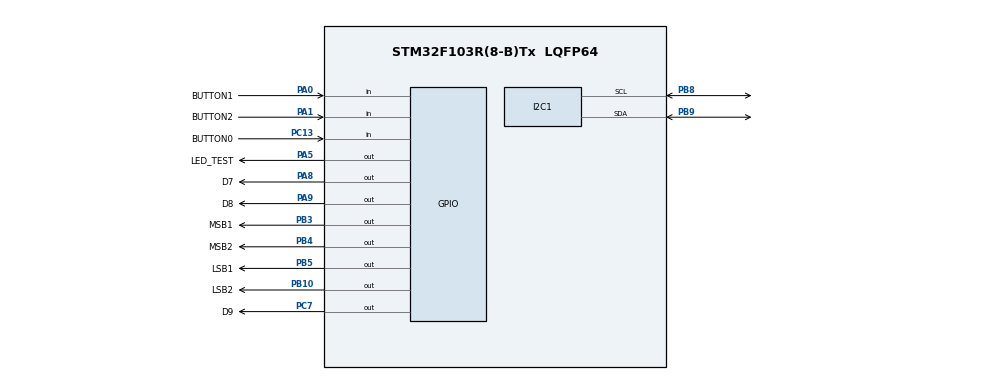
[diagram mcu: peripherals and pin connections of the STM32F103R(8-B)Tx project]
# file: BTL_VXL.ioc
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Mcu.Family=STM32F1
Mcu.Name=STM32F103R(8-B)Tx
Mcu.Package=LQFP64
NVIC.I2C1_ER_IRQn=true\:0\:0\:false\:false\:true\:true\:true
NVIC.I2C1_EV_IRQn=true\:0\:0\:false\:false\:true\:true\:true
NVIC.PriorityGroup=NVIC_PRIORITYGROUP_4
NVIC.TIM2_IRQn=true\:0\:0\:false\:false\:true\:true\:true
PA0-WKUP.GPIO_Label=BUTTON1
PA0-WKUP.GPIO_PuPd=GPIO_PULLUP
PA0-WKUP.Signal=GPIO_Input
PA1.GPIO_Label=BUTTON2
PA1.GPIO_PuPd=GPIO_PULLUP
PA1.Signal=GPIO_Input
PA13.Mode=Serial_Wire
PA13.Signal=SYS_JTMS-SWDIO
PA14.Mode=Serial_Wire
PA14.Signal=SYS_JTCK-SWCLK
PA5.GPIO_Label=LED_TEST
PA5.Signal=GPIO_Output
PA8.GPIO_Label=D7
PA8.Signal=GPIO_Output
PA9.GPIO_Label=D8
PA9.Signal=GPIO_Output
PB10.GPIO_Label=LSB2
PB10.Signal=GPIO_Output
PB3.GPIO_Label=MSB1
PB3.Signal=GPIO_Output
PB4.GPIO_Label=MSB2
PB4.Signal=GPIO_Output
PB5.GPIO_Label=LSB1
PB5.Signal=GPIO_Output
PB8.Mode=I2C
PB8.Signal=I2C1_SCL
PB9.Mode=I2C
PB9.Signal=I2C1_SDA
PC13-TAMPER-RTC.GPIO_Label=BUTTON0
PC13-TAMPER-RTC.GPIO_PuPd=GPIO_PULLUP
PC13-TAMPER-RTC.Signal=GPIO_Input
PC7.GPIO_Label=D9
PC7.Signal=GPIO_Output
ProjectManager.HeapSize=0x200
ProjectManager.StackSize=0x400
ProjectManager.TargetToolchain=STM32CubeIDE
RCC.APB1Freq_Value=8000000
RCC.APB2Freq_Value=8000000
TIM2.Period=9
TIM2.Prescaler=7999
VP_TIM2_VS_ClockSourceINT.Mode=Internal
board=custom

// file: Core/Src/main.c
/* USER CODE BEGIN Header */
/**
  ******************************************************************************
  * @file           : main.c
  * @brief          : Main program body
  ******************************************************************************
  * @attention
  *
  * <h2><center>&copy; Copyright (c) 2024 STMicroelectronics.
  * All rights reserved.</center></h2>
  *
  * This software component is licensed by ST under BSD 3-Clause license,
  * the "License"; You may not use this file except in compliance with the
  * License. You may obtain a copy of the License at:
  *                        opensource.org/licenses/BSD-3-Clause
  *
  ******************************************************************************
  */
/* USER CODE END Header */
#include "main.h"

/* USER CODE BEGIN Includes */
#include "software_timer.h"
#include "button.h"
#include "traffic_light.h"
#include "fsm_automatic.h"
#include "fsm_manual.h"
//#include "scheduler.h"
#include "i2c-lcd.h"
/* USER CODE END Includes */

I2C_HandleTypeDef hi2c1;

TIM_HandleTypeDef htim2;

void SystemClock_Config(void);
static void MX_TIM2_Init(void);
static void MX_GPIO_Init(void);
static void MX_I2C1_Init(void);

int main(void)
{

  /* MCU Configuration--------------------------------------------------------*/

  /* Reset of all peripherals, Initializes the Flash interface and the Systick. */
  HAL_Init();

  /* Configure the system clock */
  SystemClock_Config();

  /* Initialize all configured peripherals */
  MX_TIM2_Init();
  MX_GPIO_Init();
  MX_I2C1_Init();
  /* USER CODE BEGIN 2 */
  HAL_TIM_Base_Start_IT(&htim2);
  /* USER CODE END 2 */

  /* Infinite loop */
  /* USER CODE BEGIN WHILE */
  //SCH_Init();
  //lcd_init();

  setTimer(5, 1);
  setTimer(10, 5);

  while(1)
  {
	  fsm_automatic_run();
	  if (timerFlag[5] == 1)
	  {
		  setTimer(100, 5);
		  HAL_GPIO_TogglePin(LED_TEST_GPIO_Port, LED_TEST_Pin);
	  }
    /* USER CODE END WHILE */

  }
}

void SystemClock_Config(void)
{
  RCC_OscInitTypeDef RCC_OscInitStruct = {0};
  RCC_ClkInitTypeDef RCC_ClkInitStruct = {0};

  /** Initializes the RCC Oscillators according to the specified parameters
  * in the RCC_OscInitTypeDef structure.
  */
  RCC_OscInitStruct.OscillatorType = RCC_OSCILLATORTYPE_HSI;
  RCC_OscInitStruct.HSIState = RCC_HSI_ON;
  RCC_OscInitStruct.HSICalibrationValue = RCC_HSICALIBRATION_DEFAULT;
  RCC_OscInitStruct.PLL.PLLState = RCC_PLL_NONE;
  if (HAL_RCC_OscConfig(&RCC_OscInitStruct) != HAL_OK)
  {
    Error_Handler();
  }
  /** Initializes the CPU, AHB and APB buses clocks
  */
  RCC_ClkInitStruct.ClockType = RCC_CLOCKTYPE_HCLK|RCC_CLOCKTYPE_SYSCLK
                              |RCC_CLOCKTYPE_PCLK1|RCC_CLOCKTYPE_PCLK2;
  RCC_ClkInitStruct.SYSCLKSource = RCC_SYSCLKSOURCE_HSI;
  RCC_ClkInitStruct.AHBCLKDivider = RCC_SYSCLK_DIV1;
  RCC_ClkInitStruct.APB1CLKDivider = RCC_HCLK_DIV1;
  RCC_ClkInitStruct.APB2CLKDivider = RCC_HCLK_DIV1;

  if (HAL_RCC_ClockConfig(&RCC_ClkInitStruct, FLASH_LATENCY_0) != HAL_OK)
  {
    Error_Handler();
  }
}

static void MX_I2C1_Init(void)
{

  hi2c1.Instance = I2C1;
  hi2c1.Init.ClockSpeed = 100000;
  hi2c1.Init.DutyCycle = I2C_DUTYCYCLE_2;
  hi2c1.Init.OwnAddress1 = 0;
  hi2c1.Init.AddressingMode = I2C_ADDRESSINGMODE_7BIT;
  hi2c1.Init.DualAddressMode = I2C_DUALADDRESS_DISABLE;
  hi2c1.Init.OwnAddress2 = 0;
  hi2c1.Init.GeneralCallMode = I2C_GENERALCALL_DISABLE;
  hi2c1.Init.NoStretchMode = I2C_NOSTRETCH_DISABLE;
  if (HAL_I2C_Init(&hi2c1) != HAL_OK)
  {
    Error_Handler();
  }

}

static void MX_TIM2_Init(void)
{

  TIM_ClockConfigTypeDef sClockSourceConfig = {0};
  TIM_MasterConfigTypeDef sMasterConfig = {0};

  htim2.Instance = TIM2;
  htim2.Init.Prescaler = 7999;
  htim2.Init.CounterMode = TIM_COUNTERMODE_UP;
  htim2.Init.Period = 9;
  htim2.Init.ClockDivision = TIM_CLOCKDIVISION_DIV1;
  htim2.Init.AutoReloadPreload = TIM_AUTORELOAD_PRELOAD_DISABLE;
  if (HAL_TIM_Base_Init(&htim2) != HAL_OK)
  {
    Error_Handler();
  }
  sClockSourceConfig.ClockSource = TIM_CLOCKSOURCE_INTERNAL;
  if (HAL_TIM_ConfigClockSource(&htim2, &sClockSourceConfig) != HAL_OK)
  {
    Error_Handler();
  }
  sMasterConfig.MasterOutputTrigger = TIM_TRGO_RESET;
  sMasterConfig.MasterSlaveMode = TIM_MASTERSLAVEMODE_DISABLE;
  if (HAL_TIMEx_MasterConfigSynchronization(&htim2, &sMasterConfig) != HAL_OK)
  {
    Error_Handler();
  }

}

static void MX_GPIO_Init(void)
{
  GPIO_InitTypeDef GPIO_InitStruct = {0};

  /* GPIO Ports Clock Enable */
  __HAL_RCC_GPIOC_CLK_ENABLE();
  __HAL_RCC_GPIOA_CLK_ENABLE();
  __HAL_RCC_GPIOB_CLK_ENABLE();

  /*Configure GPIO pin Output Level */
  HAL_GPIO_WritePin(GPIOA, LED_TEST_Pin|D7_Pin|D8_Pin, GPIO_PIN_RESET);

  /*Configure GPIO pin Output Level */
  HAL_GPIO_WritePin(GPIOB, LSB2_Pin|MSB1_Pin|MSB2_Pin|LSB1_Pin, GPIO_PIN_RESET);

  /*Configure GPIO pin Output Level */
  HAL_GPIO_WritePin(D9_GPIO_Port, D9_Pin, GPIO_PIN_RESET);

  /*Configure GPIO pin : BUTTON0_Pin */
  GPIO_InitStruct.Pin = BUTTON0_Pin;
  GPIO_InitStruct.Mode = GPIO_MODE_INPUT;
  GPIO_InitStruct.Pull = GPIO_PULLUP;
  HAL_GPIO_Init(BUTTON0_GPIO_Port, &GPIO_InitStruct);

  /*Configure GPIO pins : BUTTON1_Pin BUTTON2_Pin */
  GPIO_InitStruct.Pin = BUTTON1_Pin|BUTTON2_Pin;
  GPIO_InitStruct.Mode = GPIO_MODE_INPUT;
  GPIO_InitStruct.Pull = GPIO_PULLUP;
  HAL_GPIO_Init(GPIOA, &GPIO_InitStruct);

  /*Configure GPIO pins : LED_TEST_Pin D7_Pin D8_Pin */
  GPIO_InitStruct.Pin = LED_TEST_Pin|D7_Pin|D8_Pin;
  GPIO_InitStruct.Mode = GPIO_MODE_OUTPUT_PP;
  GPIO_InitStruct.Pull = GPIO_NOPULL;
  GPIO_InitStruct.Speed = GPIO_SPEED_FREQ_LOW;
  HAL_GPIO_Init(GPIOA, &GPIO_InitStruct);

  /*Configure GPIO pins : LSB2_Pin MSB1_Pin MSB2_Pin LSB1_Pin */
  GPIO_InitStruct.Pin = LSB2_Pin|MSB1_Pin|MSB2_Pin|LSB1_Pin;
  GPIO_InitStruct.Mode = GPIO_MODE_OUTPUT_PP;
  GPIO_InitStruct.Pull = GPIO_NOPULL;
  GPIO_InitStruct.Speed = GPIO_SPEED_FREQ_LOW;
  HAL_GPIO_Init(GPIOB, &GPIO_InitStruct);

  /*Configure GPIO pin : D9_Pin */
  GPIO_InitStruct.Pin = D9_Pin;
  GPIO_InitStruct.Mode = GPIO_MODE_OUTPUT_PP;
  GPIO_InitStruct.Pull = GPIO_NOPULL;
  GPIO_InitStruct.Speed = GPIO_SPEED_FREQ_LOW;
  HAL_GPIO_Init(D9_GPIO_Port, &GPIO_InitStruct);

}

/* USER CODE BEGIN 4 */
void HAL_TIM_PeriodElapsedCallback(TIM_HandleTypeDef *htim)
{
	timerRun();
	getKeyInput();
}
/* USER CODE END 4 */

void Error_Handler(void)
{
  __disable_irq();
  while (1)
  {
  }
}

/************************ (C) COPYRIGHT STMicroelectronics *****END OF FILE****/
